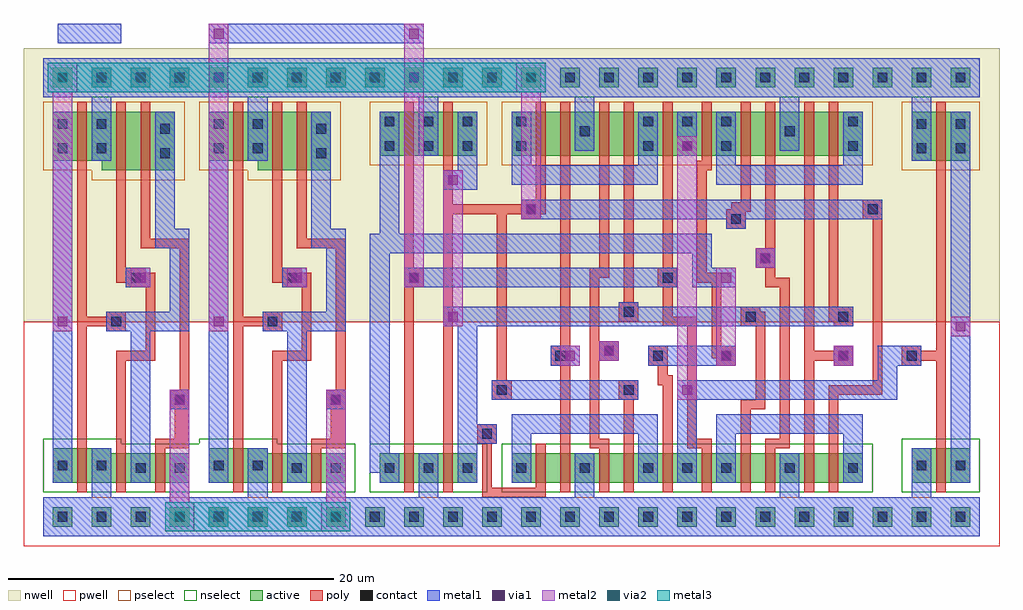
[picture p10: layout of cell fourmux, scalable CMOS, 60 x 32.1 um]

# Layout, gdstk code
import gdstk
lib = gdstk.Library(unit=1e-6, precision=1e-09)
def R(c, l, rs):  # rectangles x0, y0, x1, y1
    for r in rs: c.add(gdstk.rectangle(r[:2], r[2:], *l))
def A(c, l, x, y, w, h, nx, ny, dx, dy):  # array of equal rectangles
    R(c, l, [(x+i*dx, y+j*dy, x+i*dx+w, y+j*dy+h) for i in range(nx) for j in range(ny)])
contact = (25, 0)
pwell = (41, 0)
nwell = (42, 0)
active = (43, 0)
pselect = (44, 0)
nselect = (45, 0)
poly = (46, 0)
metal1 = (49, 0)
via1 = (50, 0)
metal2 = (51, 0)
via2 = (61, 0)
metal3 = (62, 0)

mux4_c_1x = lib.new_cell('mux4_c_1x')
A(mux4_c_1x, contact, 0.3, -0.3, 0.6, 0.6, 16, 1, 2.4, 0)
A(mux4_c_1x, contact, 1.2, 2.7, 0.6, 0.6, 3, 2, 2.4, 19.8)
A(mux4_c_1x, contact, 9.3, 2.7, 0.6, 0.6, 3, 1, 3.9, 0)
A(mux4_c_1x, contact, 21.9, 2.7, 0.6, 0.6, 3, 1, 3.9, 0)
A(mux4_c_1x, contact, 17.1, 22.5, 0.6, 0.6, 3, 2, 2.4, 1.5)
A(mux4_c_1x, contact, 1.2, 24, 0.6, 0.6, 3, 1, 2.4, 0)
A(mux4_c_1x, contact, 0.3, 26.7, 0.6, 0.6, 13, 1, 2.4, 0)
A(mux4_c_1x, contact, 29.1, 26.7, 0.6, 0.6, 4, 1, 2.4, 0)
R(mux4_c_1x, contact, [(19.5,2.7,20.1,3.3), (33.9,2.85,34.5,3.45), (36.3,2.85,36.9,3.45), (7.2,4.8,7.8,5.4), (8.1,7.5,8.7,8.1), (15.9,7.5,16.5,8.1), (11.7,9.6,12.3,10.2), (17.7,9.6,18.3,10.2), (21.9,9.6,22.5,10.2), (29.1,9.6,29.7,10.2), (33.3,9.6,33.9,10.2), (14.7,9.9,15.3,10.5), (23.4,12,24,12.6), (29.1,12,29.7,12.6), (15.9,12.3,16.5,12.9), (2.7,14.4,3.3,15), (18.3,14.4,18.9,15), (24.3,15.6,24.9,16.2), (22.5,18,23.1,18.6), (9.9,18.6,10.5,19.2), (30.9,18.6,31.5,19.2), (33.9,22.35,34.5,22.95), (36.3,22.35,36.9,22.95), (9.3,22.5,9.9,23.1), (29.7,22.5,30.3,23.1), (13.2,23.4,13.8,24), (25.8,23.4,26.4,24), (33.9,23.85,34.5,24.45), (36.3,23.85,36.9,24.45), (9.3,24,9.9,24.6), (29.7,24,30.3,24.6)])
A(mux4_c_1x, pwell, -0.9, -1.5, 3, 3, 16, 1, 2.4, 0)
A(mux4_c_1x, pwell, -0.9, 0.3, 4.8, 5.4, 3, 1, 2.4, 0)
A(mux4_c_1x, pwell, 7.2, 0.3, 4.8, 5.4, 3, 1, 3.9, 0)
A(mux4_c_1x, pwell, 13.2, 0.3, 6, 5.4, 4, 1, 2.4, 0)
A(mux4_c_1x, pwell, 19.8, 0.3, 4.8, 5.4, 3, 1, 3.9, 0)
R(mux4_c_1x, pwell, [(-1.8,-1.8,39,12), (-0.3,0.3,5.7,5.7), (2.1,0.3,8.1,5.7), (7.8,0.3,13.8,5.7), (9.3,0.3,15.3,5.7), (11.7,0.3,17.7,5.7), (17.4,0.3,22.2,5.7), (21.9,0.3,27.9,5.7), (24.3,0.3,30.3,5.7), (25.8,0.3,31.8,5.7), (31.8,0.3,36.6,6), (32.4,0.3,38.4,6), (34.2,0.3,39,6), (1.65,0.75,6.225,5.25), (3.975,0.75,8.55,5.25), (7.35,0.75,11.925,5.25), (8.925,0.75,14.175,5.25), (12.825,0.75,18.075,5.25), (15.075,0.75,19.65,5.25), (15.15,0.75,19.725,5.25), (17.55,0.75,22.125,5.25), (19.875,0.75,24.45,5.25), (19.95,0.75,24.525,5.25), (21.525,0.75,26.775,5.25), (25.425,0.75,30.675,5.25), (27.675,0.75,32.25,5.25), (11.175,0.9,15.75,5.4), (11.25,0.9,15.825,5.4), (23.775,0.9,28.35,5.4), (23.85,0.9,28.425,5.4), (31.95,0.9,36.525,5.4), (34.275,0.9,38.85,5.4), (1.575,1.05,6.15,5.55), (17.475,1.05,22.05,5.55), (-0.75,1.2,3.825,5.7)])
A(mux4_c_1x, nwell, -0.9, 20.4, 4.8, 6.3, 3, 1, 2.4, 0)
A(mux4_c_1x, nwell, 13.2, 20.4, 6, 6.3, 4, 1, 2.4, 0)
A(mux4_c_1x, nwell, 15, 20.4, 4.8, 6.3, 3, 1, 2.4, 0)
A(mux4_c_1x, nwell, -0.9, 25.5, 3, 3, 13, 1, 2.4, 0)
A(mux4_c_1x, nwell, 27.9, 25.5, 3, 3, 4, 1, 2.4, 0)
R(mux4_c_1x, nwell, [(-1.8,12,39,28.8), (31.8,20.1,36.6,26.7), (32.4,20.1,38.4,26.7), (34.2,20.1,39,26.7), (34.275,20.109,38.85,24.609), (-0.3,20.4,5.7,26.7), (2.1,20.4,8.1,26.7), (7.2,20.4,12,26.7), (7.8,20.4,13.8,26.7), (9.3,20.4,15.3,26.7), (11.7,20.4,17.7,26.7), (21.9,20.4,27.9,26.7), (24.3,20.4,30.3,26.7), (25.8,20.4,31.8,26.7), (27.6,20.4,32.4,26.7), (11.1,20.7,15.9,26.7), (23.7,20.7,28.5,26.7), (23.775,20.7,28.35,25.2), (1.575,20.73,6.15,25.23), (23.85,20.85,28.425,25.35), (-0.675,21.15,3.9,25.65), (11.25,21.15,15.825,25.65), (25.425,21.15,30.675,25.65), (31.95,21.15,36.525,25.65), (11.175,21.3,15.75,25.8), (1.65,21.45,6.225,25.95), (3.975,21.45,8.55,25.95), (7.35,21.45,11.925,25.95), (8.925,21.45,14.175,25.95), (12.825,21.45,18.075,25.95), (15.075,21.45,19.65,25.95), (15.15,21.45,19.725,25.95), (17.475,21.45,22.05,25.95), (17.55,21.45,22.125,25.95), (19.875,21.45,24.45,25.95), (19.95,21.45,24.525,25.95), (21.525,21.45,26.775,25.95), (27.675,21.45,32.25,25.95)])
A(mux4_c_1x, active, 0, -0.6, 1.2, 1.2, 16, 1, 2.4, 0)
A(mux4_c_1x, active, 0.9, 2.1, 1.2, 1.8, 3, 1, 2.4, 0)
A(mux4_c_1x, active, 9, 2.1, 1.2, 1.8, 3, 1, 3.9, 0)
A(mux4_c_1x, active, 15, 2.1, 2.4, 1.8, 4, 1, 2.4, 0)
A(mux4_c_1x, active, 21.6, 2.1, 1.2, 1.8, 3, 1, 3.9, 0)
A(mux4_c_1x, active, 0.9, 22.2, 1.2, 2.7, 3, 1, 2.4, 0)
A(mux4_c_1x, active, 15, 22.2, 2.4, 2.7, 4, 1, 2.4, 0)
A(mux4_c_1x, active, 16.8, 22.2, 1.2, 2.7, 3, 1, 2.4, 0)
A(mux4_c_1x, active, 0, 26.4, 1.2, 1.2, 13, 1, 2.4, 0)
A(mux4_c_1x, active, 28.8, 26.4, 1.2, 1.2, 4, 1, 2.4, 0)
R(mux4_c_1x, active, [(1.5,2.1,3.9,3.9), (3.9,2.1,6.3,3.9), (9.6,2.1,12,3.9), (11.1,2.1,13.5,3.9), (13.5,2.1,15.9,3.9), (19.2,2.1,20.4,3.9), (23.7,2.1,26.1,3.9), (26.1,2.1,28.5,3.9), (27.6,2.1,30,3.9), (33.6,2.1,34.8,4.2), (34.2,2.1,36.6,4.2), (36,2.1,37.2,4.2), (3.45,2.55,4.425,3.45), (5.775,2.55,6.75,3.45), (9.15,2.55,10.125,3.45), (10.725,2.55,12.375,3.45), (14.625,2.55,16.275,3.45), (16.875,2.55,17.85,3.45), (16.95,2.55,17.925,3.45), (19.35,2.55,20.325,3.45), (21.675,2.55,22.65,3.45), (21.75,2.55,22.725,3.45), (23.325,2.55,24.975,3.45), (27.225,2.55,28.875,3.45), (29.475,2.55,30.45,3.45), (12.975,2.7,13.95,3.6), (13.05,2.7,14.025,3.6), (25.575,2.7,26.55,3.6), (25.65,2.7,26.625,3.6), (33.75,2.7,34.725,3.6), (36.075,2.7,37.05,3.6), (3.375,2.85,4.35,3.75), (19.275,2.85,20.25,3.75), (1.05,3,2.025,3.9), (33.6,21.9,34.8,24.9), (34.2,21.9,36.6,24.9), (36,21.9,37.2,24.9), (36.075,21.909,37.05,22.809), (1.5,22.2,3.9,24.9), (3.9,22.2,6.3,24.9), (9,22.2,10.2,24.9), (9.6,22.2,12,24.9), (11.1,22.2,13.5,24.9), (13.5,22.2,15.9,24.9), (23.7,22.2,26.1,24.9), (26.1,22.2,28.5,24.9), (27.6,22.2,30,24.9), (29.4,22.2,30.6,24.9), (12.9,22.5,14.1,24.9), (25.5,22.5,26.7,24.9), (25.575,22.5,26.55,23.4), (3.375,22.53,4.35,23.43), (25.65,22.65,26.625,23.55), (1.125,22.95,2.1,23.85), (13.05,22.95,14.025,23.85), (27.225,22.95,28.875,23.85), (33.75,22.95,34.725,23.85), (12.975,23.1,13.95,24), (3.45,23.25,4.425,24.15), (5.775,23.25,6.75,24.15), (9.15,23.25,10.125,24.15), (10.725,23.25,12.375,24.15), (14.625,23.25,16.275,24.15), (16.875,23.25,17.85,24.15), (16.95,23.25,17.925,24.15), (19.275,23.25,20.25,24.15), (19.35,23.25,20.325,24.15), (21.675,23.25,22.65,24.15), (21.75,23.25,22.725,24.15), (23.325,23.25,24.975,24.15), (29.475,23.25,30.45,24.15)])
A(mux4_c_1x, pselect, -0.6, -1.2, 2.4, 2.4, 16, 1, 2.4, 0)
A(mux4_c_1x, pselect, 0.3, 21.6, 2.4, 3.9, 3, 1, 2.4, 0)
A(mux4_c_1x, pselect, 14.4, 21.6, 3.6, 3.9, 4, 1, 2.4, 0)
A(mux4_c_1x, pselect, 16.2, 21.6, 2.4, 3.9, 3, 1, 2.4, 0)
R(mux4_c_1x, pselect, [(33,21.3,35.4,25.5), (33.6,21.3,37.2,25.5), (35.4,21.3,37.8,25.5), (35.475,21.309,37.65,23.409), (0.9,21.6,4.5,25.5), (3.3,21.6,6.9,25.5), (8.4,21.6,10.8,25.5), (9,21.6,12.6,25.5), (10.5,21.6,14.1,25.5), (12.9,21.6,16.5,25.5), (23.1,21.6,26.7,25.5), (25.5,21.6,29.1,25.5), (27,21.6,30.6,25.5), (28.8,21.6,31.2,25.5), (12.3,21.9,14.7,25.5), (24.9,21.9,27.3,25.5), (24.975,21.9,27.15,24), (2.775,21.93,4.95,24.03), (25.05,22.05,27.225,24.15), (0.525,22.35,2.7,24.45), (12.45,22.35,14.625,24.45), (26.625,22.35,29.475,24.45), (33.15,22.35,35.325,24.45), (12.375,22.5,14.55,24.6), (2.85,22.65,5.025,24.75), (5.175,22.65,7.35,24.75), (8.55,22.65,10.725,24.75), (10.125,22.65,12.975,24.75), (14.025,22.65,16.875,24.75), (16.275,22.65,18.45,24.75), (16.35,22.65,18.525,24.75), (18.675,22.65,20.85,24.75), (18.75,22.65,20.925,24.75), (21.075,22.65,23.25,24.75), (21.15,22.65,23.325,24.75), (22.725,22.65,25.575,24.75), (28.875,22.65,31.05,24.75)])
A(mux4_c_1x, nselect, 0.3, 1.5, 2.4, 3, 3, 1, 2.4, 0)
A(mux4_c_1x, nselect, 8.4, 1.5, 2.4, 3, 3, 1, 3.9, 0)
A(mux4_c_1x, nselect, 14.4, 1.5, 3.6, 3, 4, 1, 2.4, 0)
A(mux4_c_1x, nselect, 21, 1.5, 2.4, 3, 3, 1, 3.9, 0)
A(mux4_c_1x, nselect, -0.6, 25.8, 2.4, 2.4, 13, 1, 2.4, 0)
A(mux4_c_1x, nselect, 28.2, 25.8, 2.4, 2.4, 4, 1, 2.4, 0)
R(mux4_c_1x, nselect, [(0.9,1.5,4.5,4.5), (3.3,1.5,6.9,4.5), (9,1.5,12.6,4.5), (10.5,1.5,14.1,4.5), (12.9,1.5,16.5,4.5), (18.6,1.5,21,4.5), (23.1,1.5,26.7,4.5), (25.5,1.5,29.1,4.5), (27,1.5,30.6,4.5), (33,1.5,35.4,4.8), (33.6,1.5,37.2,4.8), (35.4,1.5,37.8,4.8), (2.85,1.95,5.025,4.05), (5.175,1.95,7.35,4.05), (8.55,1.95,10.725,4.05), (10.125,1.95,12.975,4.05), (14.025,1.95,16.875,4.05), (16.275,1.95,18.45,4.05), (16.35,1.95,18.525,4.05), (18.75,1.95,20.925,4.05), (21.075,1.95,23.25,4.05), (21.15,1.95,23.325,4.05), (22.725,1.95,25.575,4.05), (26.625,1.95,29.475,4.05), (28.875,1.95,31.05,4.05), (12.375,2.1,14.55,4.2), (12.45,2.1,14.625,4.2), (24.975,2.1,27.15,4.2), (25.05,2.1,27.225,4.2), (33.15,2.1,35.325,4.2), (35.475,2.1,37.65,4.2), (2.775,2.25,4.95,4.35), (18.675,2.25,20.85,4.35), (0.45,2.4,2.625,4.5)])
A(mux4_c_1x, poly, 15.9, 1.5, 0.6, 3, 4, 1, 2.4, 0)
A(mux4_c_1x, poly, 15.9, 21.6, 0.6, 3.9, 4, 1, 2.4, 0)
R(mux4_c_1x, poly, [(7.2,1.2,7.8,5.4), (7.2,1.2,11.1,1.8), (2.4,1.5,3,4.5), (4.8,1.5,5.4,4.5), (10.5,1.5,11.1,4.5), (12,1.5,12.6,4.5), (14.4,1.5,15,4.5), (24.6,1.5,25.2,4.5), (27,1.5,27.6,4.5), (28.5,1.5,29.1,4.5), (35.1,1.5,35.7,4.8), (2.4,4.2,3,15), (4.8,4.2,5.4,19.2), (12,4.2,12.6,10.2), (13.8,4.2,15,4.8), (13.8,4.2,14.4,10.5), (15.9,4.2,16.5,8.1), (18.3,4.2,18.9,8.7), (19.8,4.2,21.3,4.8), (19.8,4.2,20.4,12.3), (23.1,4.2,23.7,7.2), (24.6,4.2,26.1,4.8), (25.5,4.2,26.1,14.7), (27,4.2,27.6,10.2), (28.5,4.2,29.1,8.1), (6.9,4.5,8.1,5.7), (35.1,4.5,35.7,10.2), (23.1,6.6,24.6,7.2), (24,6.6,24.6,7.2), (24,6.6,24.6,12.6), (7.8,7.2,9,8.4), (15.6,7.2,16.8,8.4), (8.1,7.5,8.7,15.3), (28.5,7.5,31.8,8.1), (31.2,7.5,31.8,19.2), (18,8.1,18.9,8.7), (18,8.1,18.6,10.2), (11.4,9.3,12.6,10.5), (17.4,9.3,18.6,10.5), (21.6,9.3,22.8,10.5), (28.8,9.3,30,10.5), (33,9.3,34.2,10.5), (11.7,9.6,12.6,10.2), (12,9.6,12.6,21.9), (14.4,9.6,15.6,10.8), (17.7,9.6,18.6,10.2), (27,9.6,27.6,21.9), (27,9.6,29.7,10.2), (33.3,9.6,35.7,10.2), (35.1,9.6,35.7,21.6), (21.3,9.75,21.9,15), (21.3,9.75,22.5,10.35), (13.8,9.9,14.4,15.3), (13.8,9.9,15.3,10.5), (13.8,9.9,14.4,10.5), (18.3,11.7,18.9,15.15), (18.3,11.7,20.4,12.3), (23.1,11.7,24.3,12.9), (28.8,11.7,30,12.9), (15.6,12,16.8,13.2), (23.4,12,24.6,12.6), (28.5,12,29.1,21.9), (28.5,12,29.7,12.6), (15.9,12.3,16.5,21.9), (2.4,14.1,3.6,15.3), (18,14.1,19.2,15.3), (24.6,14.1,26.1,14.7), (24.6,14.1,25.2,16.2), (2.4,14.4,3.3,15), (2.4,14.4,3.3,15), (2.4,14.4,3,21.9), (20.4,14.4,21.9,15), (20.4,14.4,21,21.9), (18.3,14.55,18.9,21.9), (8.1,14.7,8.7,16.2), (8.1,14.7,8.7,19.2), (13.8,14.7,15,15.3), (14.4,14.7,15,21.9), (24,15.3,25.2,16.5), (24.45,15.6,25.2,16.2), (24.6,15.6,25.2,21.9), (22.2,17.7,23.4,18.9), (22.5,18,23.1,19.35), (9.6,18.3,10.8,19.5), (30.6,18.3,31.8,19.5), (4.8,18.6,5.4,21.9), (4.8,18.6,8.7,19.2), (8.1,18.6,10.5,19.2), (9.9,18.6,11.1,19.2), (10.5,18.6,11.1,21.9), (30.9,18.6,31.8,19.2), (22.5,18.75,23.7,19.35), (23.1,18.75,23.7,21.9), (20.4,21.3,21.3,21.9), (35.1,21.3,35.7,25.5), (2.4,21.6,3,25.5), (4.8,21.6,5.4,25.5), (10.5,21.6,11.1,25.5), (12,21.6,12.6,25.5), (14.4,21.6,15,25.5), (24.6,21.6,25.2,25.5), (27,21.6,27.6,25.5), (28.5,21.6,29.1,25.5)])
A(mux4_c_1x, metal1, -0.6, -1.2, 4.8, 2.4, 8, 1, 2.4, 0)
A(mux4_c_1x, metal1, 0, -0.6, 1.2, 1.2, 16, 1, 2.4, 0)
A(mux4_c_1x, metal1, 0.9, 2.1, 1.2, 1.8, 3, 1, 2.4, 0)
A(mux4_c_1x, metal1, 9, 2.1, 1.2, 1.8, 3, 1, 3.9, 0)
A(mux4_c_1x, metal1, 21.6, 2.1, 1.2, 1.8, 3, 1, 3.9, 0)
A(mux4_c_1x, metal1, 0.9, 22.2, 1.2, 2.7, 3, 1, 2.4, 0)
A(mux4_c_1x, metal1, 16.8, 22.2, 1.2, 2.7, 3, 1, 2.4, 0)
A(mux4_c_1x, metal1, -0.6, 25.8, 4.8, 2.4, 5, 1, 2.4, 0)
A(mux4_c_1x, metal1, 13.8, 25.8, 4.8, 2.4, 4, 1, 2.4, 0)
A(mux4_c_1x, metal1, 0, 26.4, 1.2, 1.2, 13, 1, 2.4, 0)
A(mux4_c_1x, metal1, 28.8, 26.4, 1.2, 1.2, 4, 1, 2.4, 0)
R(mux4_c_1x, metal1, [(1.8,-1.2,5.1,1.2), (9,-1.2,14.7,1.2), (12.3,-1.2,16.2,1.2), (13.8,-1.2,21,1.2), (18.6,-1.2,25.8,1.2), (21,-1.2,25.8,1.2), (23.4,-1.2,28.2,1.2), (23.4,-1.2,27.3,1.2), (24.9,-1.2,33,1.2), (28.2,-1.2,33,1.2), (30.6,-1.2,35.4,1.2), (30.6,-1.2,37.8,1.2), (3.3,-0.6,4.5,3.3), (12.9,-0.6,14.1,3.3), (25.5,-0.6,26.7,3.3), (33.6,-0.6,34.8,3.3), (19.2,2.1,20.4,3.9), (33.6,2.1,34.8,4.2), (36,2.1,37.2,4.2), (0.3,2.7,1.5,17.4), (0.3,2.7,2.1,3.9), (5.7,2.7,6.9,5.7), (9,2.7,10.2,6.3), (16.8,2.7,18,6.3), (21.6,2.7,22.8,6.3), (29.4,2.7,30.6,6.3), (19.2,2.775,20.4,8.4), (36,3,37.2,12.3), (5.7,4.5,6.9,12.9), (5.7,4.5,8.1,5.7), (6.9,4.5,8.1,5.7), (9,5.1,18,6.3), (21.6,5.1,30.6,6.3), (7.8,7.2,9,8.4), (7.8,7.2,16.8,8.4), (15.6,7.2,16.8,8.4), (19.2,7.2,20.4,8.4), (19.2,7.2,20.4,8.4), (19.2,7.2,32.7,8.4), (31.5,7.2,32.7,10.5), (11.4,9.3,12.6,10.5), (11.4,9.3,12.9,10.5), (12,9.3,13.2,10.5), (17.4,9.3,18.6,10.5), (17.4,9.3,21.3,10.5), (17.4,9.3,22.8,10.5), (21.6,9.3,22.8,10.5), (21.6,9.3,22.8,10.5), (21.6,9.3,22.8,10.5), (28.8,9.3,30,10.5), (28.8,9.3,30,10.5), (28.8,9.3,30,10.5), (28.8,9.3,30,10.5), (31.5,9.3,34.2,10.5), (33,9.3,34.2,10.5), (14.4,9.6,15.6,10.8), (14.4,9.6,15.6,10.8), (14.4,9.6,15.6,10.8), (36,11.1,37.2,12.3), (36,11.1,37.2,23.1), (4.8,11.7,6,12.9), (4.8,11.7,6.9,12.9), (4.8,11.7,16.8,12.9), (15.6,11.7,24.3,12.9), (15.6,11.7,16.8,13.2), (23.1,11.7,24.3,12.9), (23.1,11.7,30,12.9), (28.8,11.7,30,12.9), (15.6,12,16.8,13.2), (2.4,14.1,3.6,15.3), (2.4,14.1,3.6,15.3), (2.4,14.1,3.6,15.3), (2.4,14.1,19.2,15.3), (18,14.1,19.2,15.3), (20.1,14.1,21.3,17.4), (20.1,14.1,22.8,15.3), (21.6,14.1,22.8,15.3), (24,15.3,25.2,16.5), (24,15.3,25.2,16.5), (24,15.3,25.2,16.5), (0.3,16.2,2.1,17.4), (0.9,16.2,21.3,17.4), (0.9,16.2,2.1,23.4), (22.2,17.7,23.4,18.9), (22.2,17.7,23.4,19.5), (9.6,18.3,10.8,19.5), (9.6,18.3,10.8,19.5), (9.6,18.3,10.8,19.5), (9.6,18.3,10.8,19.5), (9.75,18.3,23.4,19.5), (22.2,18.3,31.8,19.5), (30.6,18.3,31.8,19.5), (4.8,20.1,6,21.3), (4.8,20.1,6.9,21.3), (5.7,20.1,6.9,23.4), (9,20.4,10.2,23.4), (9,20.4,18,21.6), (16.8,20.4,18,23.4), (21.6,20.4,22.8,23.4), (21.6,20.4,30.6,21.6), (29.4,20.4,30.6,23.4), (33.6,21.9,34.8,24.9), (36,21.9,37.2,24.9), (9,22.2,10.2,24.9), (19.2,22.2,20.4,23.4), (19.2,22.2,20.4,23.4), (29.4,22.2,30.6,24.9), (12.9,22.5,14.1,24.9), (25.5,22.5,26.7,24.9), (3.3,23.7,4.5,27.6), (12.9,23.7,14.1,27.6), (25.5,23.7,26.7,27.6), (33.6,23.7,34.8,27.6), (1.8,25.8,5.1,28.2), (9,25.8,14.7,28.2), (12.3,25.8,16.2,28.2), (23.4,25.8,27.3,28.2), (24.9,25.8,28.2,28.2), (28.2,25.8,37.8,28.2), (30.6,25.8,35.4,28.2), (33,25.8,37.8,28.2), (26.4,26.4,30,27.6), (28.8,26.4,32.4,27.6)])
R(mux4_c_1x, via1, [(19.5,7.5,20.1,8.1), (12.3,9.6,12.9,10.2), (21.9,9.6,22.5,10.2), (29.1,9.6,29.7,10.2), (14.7,9.9,15.3,10.5), (36.3,11.4,36.9,12), (5.1,12,5.7,12.6), (2.7,14.4,3.3,15), (21.9,14.4,22.5,15), (24.3,15.6,24.9,16.2), (9.9,18.6,10.5,19.2), (5.1,20.4,5.7,21), (19.5,22.5,20.1,23.1)])
R(mux4_c_1x, metal2, [(19.2,7.2,20.4,8.4), (19.2,7.2,20.4,23.4), (12,9.3,13.2,10.5), (21.6,9.3,22.8,10.5), (21.6,9.3,22.8,15), (28.8,9.3,30,10.5), (14.4,9.6,15.6,10.8), (36,11.1,37.2,12.3), (4.8,11.7,6,12.9), (4.8,11.7,6,21.3), (2.4,14.1,3.6,15.3), (21.6,14.1,22.8,15.3), (24,15.3,25.2,16.5), (9.6,18.3,10.8,19.5), (4.8,20.1,6,21.3), (19.2,22.2,20.4,23.4)])

or2_1x = lib.new_cell('or2_1x')
A(or2_1x, contact, 0.3, -0.3, 0.6, 0.6, 4, 2, 2.4, 27)
R(or2_1x, contact, [(5.1,2.7,5.7,3.3), (7.5,2.7,8.1,3.3), (0.3,2.85,0.9,3.45), (2.7,2.85,3.3,3.45), (7.5,6.9,8.1,7.5), (3.6,11.7,4.2,12.3), (4.8,14.4,5.4,15), (6.6,22.05,7.2,22.65), (0.3,22.35,0.9,22.95), (2.7,22.35,3.3,22.95), (6.6,23.55,7.2,24.15), (0.3,23.85,0.9,24.45), (2.7,23.85,3.3,24.45)])
A(or2_1x, pwell, -0.9, -1.5, 3, 3, 4, 1, 2.4, 0)
R(or2_1x, pwell, [(-1.8,-1.8,10.2,12), (-1.8,0.3,3,6), (-1.2,0.3,4.8,6), (0.6,0.3,5.4,6), (1.2,0.3,7.2,5.7), (3,0.3,7.8,5.7), (3.6,0.3,9.6,5.7), (5.4,0.3,10.2,5.7), (3.15,0.45,7.725,4.95), (3.075,0.75,7.65,5.25), (5.475,1.05,10.05,5.55), (0.75,1.125,5.325,5.625), (0.675,1.275,5.25,5.775), (-1.65,1.35,2.925,5.85)])
A(or2_1x, nwell, -0.9, 25.5, 3, 3, 4, 1, 2.4, 0)
R(or2_1x, nwell, [(-1.8,12,10.2,28.8), (1.2,19.5,7.2,26.7), (2.7,19.5,8.7,26.7), (4.5,19.5,9.3,26.7), (4.575,19.65,9.15,24.15), (-1.8,20.1,3,26.7), (-1.65,20.1,2.925,24.6), (-1.2,20.1,4.8,26.7), (0.6,20.1,5.4,26.7), (0.675,20.25,5.25,24.75), (2.25,20.4,7.65,24.9), (0.75,20.85,5.325,25.35)])
A(or2_1x, active, 0, -0.6, 1.2, 1.2, 4, 2, 2.4, 27)
R(or2_1x, active, [(0,2.1,1.2,4.2), (0.6,2.1,3,4.2), (2.4,2.1,3.6,4.2), (3,2.1,5.4,3.9), (4.8,2.1,6,3.9), (5.4,2.1,7.8,3.9), (7.2,2.1,8.4,3.9), (4.95,2.25,5.925,3.15), (4.875,2.55,5.85,3.45), (7.275,2.85,8.25,3.75), (2.55,2.925,3.525,3.825), (2.475,3.075,3.45,3.975), (0.15,3.15,1.125,4.05), (3,21.3,5.4,24.9), (4.5,21.3,6.9,24.9), (6.3,21.3,7.5,24.9), (6.375,21.45,7.35,22.35), (0,21.9,1.2,24.9), (0.15,21.9,1.125,22.8), (0.6,21.9,3,24.9), (2.4,21.9,3.6,24.9), (2.475,22.05,3.45,22.95), (4.05,22.2,5.85,23.1), (2.55,22.65,3.525,23.55)])
A(or2_1x, pselect, -0.6, -1.2, 2.4, 2.4, 4, 1, 2.4, 0)
R(or2_1x, pselect, [(2.4,20.7,6,25.5), (3.9,20.7,7.5,25.5), (5.7,20.7,8.1,25.5), (5.775,20.85,7.95,22.95), (-0.6,21.3,1.8,25.5), (-0.45,21.3,1.725,23.4), (0,21.3,3.6,25.5), (1.8,21.3,4.2,25.5), (1.875,21.45,4.05,23.55), (3.45,21.6,6.45,23.7), (1.95,22.05,4.125,24.15)])
A(or2_1x, nselect, -0.6, 25.8, 2.4, 2.4, 4, 1, 2.4, 0)
R(or2_1x, nselect, [(-0.6,1.5,1.8,4.8), (0,1.5,3.6,4.8), (1.8,1.5,4.2,4.8), (2.4,1.5,6,4.5), (4.2,1.5,6.6,4.5), (4.8,1.5,8.4,4.5), (6.6,1.5,9,4.5), (4.35,1.65,6.525,3.75), (4.275,1.95,6.45,4.05), (6.675,2.25,8.85,4.35), (1.95,2.325,4.125,4.425), (1.875,2.475,4.05,4.575), (-0.45,2.55,1.725,4.65)])
R(or2_1x, poly, [(1.5,1.5,2.1,4.8), (3.9,1.5,4.5,4.5), (6.3,1.5,6.9,4.5), (3.9,4.2,4.5,10.2), (6.3,4.2,8.4,4.8), (7.5,4.2,8.1,7.5), (7.5,4.2,8.4,4.8), (7.8,4.2,8.4,17.1), (1.5,4.5,2.1,12.3), (7.2,6.6,8.4,7.8), (3.9,9.6,6.3,10.2), (5.7,9.6,6.3,15), (3.3,11.4,4.5,12.6), (1.5,11.7,2.1,21.6), (1.5,11.7,4.2,12.3), (4.5,14.1,5.7,15.3), (3.9,14.4,4.5,21), (3.9,14.4,5.4,15), (3.9,14.4,6.3,15), (4.8,14.4,6.3,15), (5.4,16.5,8.4,17.1), (5.4,16.5,6,21), (3.9,20.7,4.5,25.5), (5.4,20.7,6,25.5), (1.5,21.3,2.1,25.5)])
A(or2_1x, metal1, -0.6, -1.2, 4.8, 2.4, 3, 1, 2.4, 0)
A(or2_1x, metal1, 0, -0.6, 1.2, 1.2, 4, 2, 2.4, 27)
R(or2_1x, metal1, [(-0.6,-1.2,1.8,1.2), (-0.6,-1.2,4.2,1.2), (2.4,-0.6,3.6,3.825), (7.2,-0.6,8.4,3.3), (0,2.1,1.2,4.2), (2.4,2.1,3.6,4.2), (4.8,2.1,6,3.9), (7.2,2.1,8.4,3.9), (4.8,2.7,6,12.6), (0,3.075,1.2,12.6), (7.2,6.6,8.4,7.8), (7.2,6.6,8.4,7.8), (7.2,6.6,8.4,7.8), (0,11.4,1.2,12.6), (0,11.4,1.2,22.95), (3.3,11.4,4.5,12.6), (3.3,11.4,6,12.6), (4.8,11.4,8.4,12.6), (7.2,11.4,8.4,17.7), (4.5,14.1,5.7,15.3), (4.5,14.1,6,15.3), (4.8,14.1,6,15.3), (6.3,16.5,8.4,17.7), (6.3,16.5,7.5,22.5), (6.3,21.3,7.5,24.9), (0,21.9,1.2,24.9), (2.4,21.9,3.6,24.9), (2.4,23.7,3.6,27.6), (-0.6,25.8,1.8,28.2), (-0.6,25.8,4.2,28.2), (1.8,25.8,9,28.2), (0,26.4,1.2,27.6), (4.8,26.4,8.4,27.6), (7.2,26.4,8.4,27.6)])
R(or2_1x, via1, [(7.5,6.9,8.1,7.5), (0.3,11.7,0.9,12.3), (5.1,14.4,5.7,15)])
R(or2_1x, metal2, [(7.2,6.6,8.4,7.8), (0,11.4,1.2,12.6), (4.8,14.1,6,15.3)])

fourmux = lib.new_cell('fourmux')
R(fourmux, metal1, [(-4.5,-1.05,7.5,1.35), (5.1,-1.05,16.95,1.35), (-4.5,25.95,7.5,28.35), (5.1,25.95,16.95,28.35), (-3.6,29.25,0.3,30.45), (5.7,29.25,6.9,30.45), (5.7,29.25,18.9,30.45), (17.7,29.25,18.9,30.45)])
R(fourmux, via1, [(6,29.55,6.6,30.15), (18,29.55,18.6,30.15)])
R(fourmux, metal2, [(3,-0.75,4.8,1.05), (12.6,-0.75,14.4,1.05), (3.3,-0.3,4.5,7.95), (12.9,-0.3,14.1,7.95), (-3.9,11.55,-2.7,27.9), (5.7,11.85,6.9,30.3), (17.7,14.55,18.9,30.3), (24.9,18.75,26.1,27.9), (-4.2,26.25,-2.4,28.05), (24.6,26.25,26.4,28.05), (5.7,29.25,6.9,30.45), (17.7,29.25,18.9,30.45)])
R(fourmux, via2, [(3.6,-0.15,4.2,0.45), (13.2,-0.15,13.8,0.45), (-3.6,26.85,-3,27.45), (25.2,26.85,25.8,27.45)])
R(fourmux, metal3, [(3,-0.75,4.8,1.05), (3,-0.75,14.4,1.05), (12.6,-0.75,14.4,1.05), (-4.2,26.25,-2.4,28.05), (-4.2,26.25,26.4,28.05), (24.6,26.25,26.4,28.05)])
fourmux.add(gdstk.Reference(mux4_c_1x, (15.3,0.15)))
fourmux.add(gdstk.Reference(or2_1x, (5.7,0.15)))
fourmux.add(gdstk.Reference(or2_1x, (-3.9,0.15)))

lib.write_gds('fourmux.gds')
